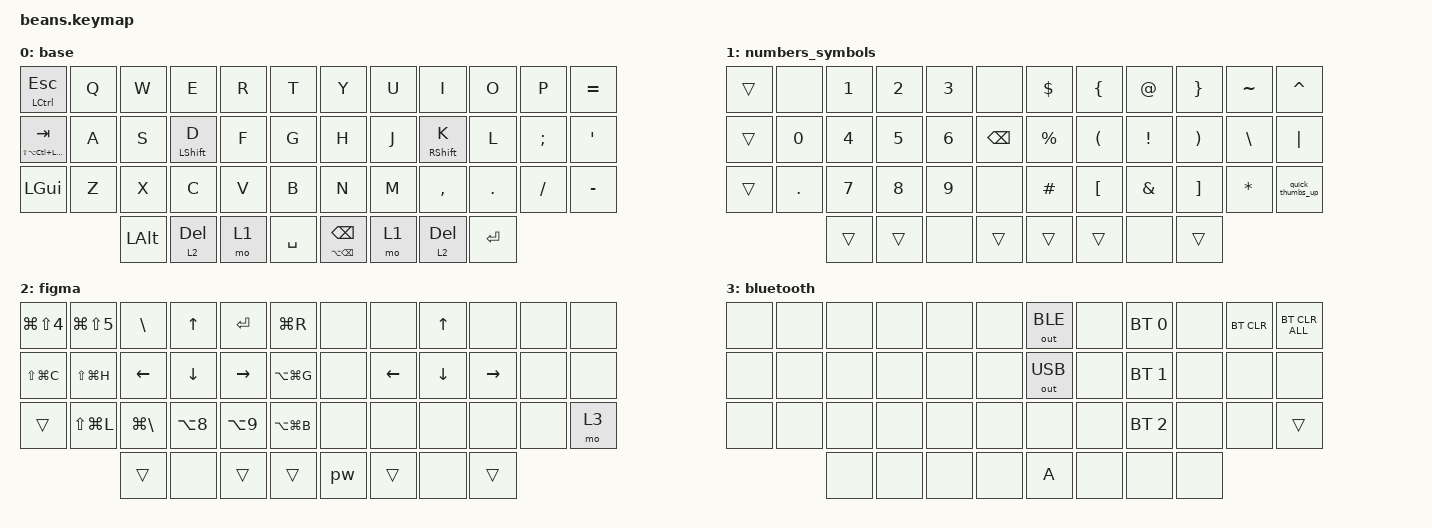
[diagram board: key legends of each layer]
/*
 * Copyright (c) 2020 The ZMK Contributors
 *
 * SPDX-License-Identifier: MIT
 */

#include <behaviors.dtsi>
#include <dt-bindings/zmk/bt.h>
#include <dt-bindings/zmk/keys.h>
#include <dt-bindings/zmk/outputs.h>

&mt { flavor = "balanced"; };

&lt { flavor = "hold-preferred"; };

/ {
    macros {
        quick_thumbs_up: quick_thumbs_up {
            compatible = "zmk,behavior-macro";
            #binding-cells = <0>;
            bindings = <&kp LPAR &kp LS(Y) &kp RPAR>;
            label = "QUICK_THUMBS_UP";
        };

        pw: pw {
            compatible = "zmk,behavior-macro";
            #binding-cells = <0>;
            bindings = <&kp LS(F) &kp LS(G) &kp STAR &kp Z &kp T &kp E &kp LS(T) &kp LS(F) &kp U &kp LS(H) &kp N4 &kp P>;
            label = "PW";
        };
    };

    keymap {
        compatible = "zmk,keymap";

        base {
            bindings = <
&mt LCTRL ESCAPE              &kp Q  &kp W         &kp E             &kp R  &kp T        &kp Y                        &kp U  &kp I              &kp O    &kp P     &kp EQUAL
&mt LS(LA(LC(LEFT_GUI))) TAB  &kp A  &kp S         &mt LEFT_SHIFT D  &kp F  &kp G        &kp H                        &kp J  &mt RIGHT_SHIFT K  &kp L    &kp SEMI  &kp SQT
&kp LEFT_GUI                  &kp Z  &kp X         &kp C             &kp V  &kp B        &kp N                        &kp M  &kp COMMA          &kp DOT  &kp FSLH  &kp MINUS
                                     &kp LEFT_ALT  &lt 2 DELETE      &mo 1  &kp SPACE    &mt LA(BACKSPACE) BACKSPACE  &mo 1  &lt 2 DELETE       &kp RET
            >;
        };

        numbers_symbols {
            bindings = <
&trans  &none         &kp NUMBER_1  &kp NUMBER_2  &kp NUMBER_3  &none            &kp DOLLAR   &kp LEFT_BRACE        &kp AT    &kp RIGHT_BRACE        &kp TILDE      &kp CARET
&trans  &kp NUMBER_0  &kp N4        &kp N5        &kp NUMBER_6  &kp BACKSPACE    &kp PERCENT  &kp LEFT_PARENTHESIS  &kp EXCL  &kp RIGHT_PARENTHESIS  &kp BACKSLASH  &kp PIPE
&trans  &kp PERIOD    &kp N7        &kp N8        &kp N9        &none            &kp HASH     &kp LEFT_BRACKET      &kp AMPS  &kp RIGHT_BRACKET      &kp STAR       &quick_thumbs_up
                      &trans        &trans        &none         &trans           &trans       &trans                &none     &trans
            >;
        };

        figma {
            bindings = <
&kp LG(LS(NUMBER_4))  &kp LG(LS(N5))  &kp BACKSLASH      &kp UP_ARROW  &kp ENTER   &kp LG(R)        &none  &none     &kp UP_ARROW  &none      &none  &none
&kp LS(LG(C))         &kp LS(LG(H))   &kp LEFT           &kp DOWN      &kp RIGHT   &kp LA(LG(G))    &none  &kp LEFT  &kp DOWN      &kp RIGHT  &none  &none
&trans                &kp LS(LG(L))   &kp LG(BACKSLASH)  &kp LA(N8)    &kp LA(N9)  &kp LA(LG(B))    &none  &none     &none         &none      &none  &mo 3
                                      &trans             &none         &trans      &trans           &pw    &trans    &none         &trans
            >;
        };

        bluetooth {
            bindings = <
&none  &none  &none  &none  &none  &none    &out OUT_BLE  &none  &bt BT_SEL 0  &none  &bt BT_CLR  &bt BT_CLR_ALL
&none  &none  &none  &none  &none  &none    &out OUT_USB  &none  &bt BT_SEL 1  &none  &none       &none
&none  &none  &none  &none  &none  &none    &none         &none  &bt BT_SEL 2  &none  &none       &trans
              &none  &none  &none  &none    &kp A         &none  &none         &none
            >;
        };
    };
};
